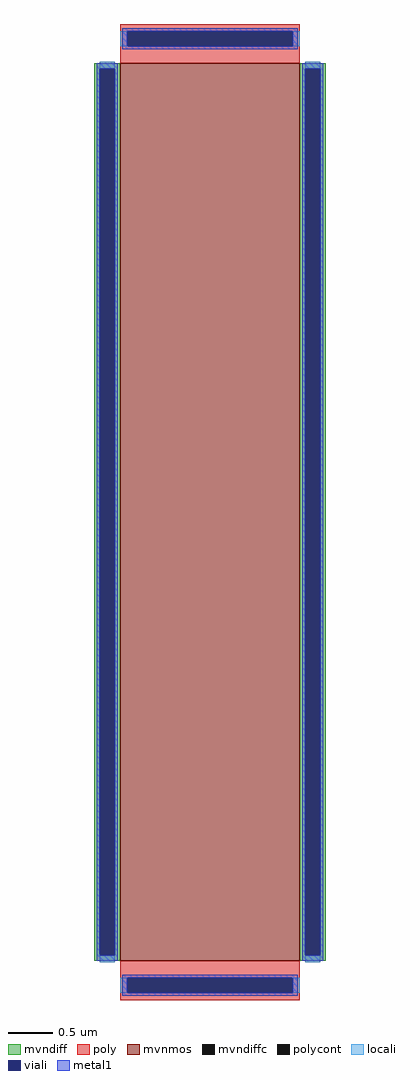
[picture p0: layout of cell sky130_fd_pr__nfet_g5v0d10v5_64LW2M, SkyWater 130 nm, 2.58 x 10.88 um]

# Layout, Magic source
magic
tech sky130A
<< mvnmos >>
rect -100 -500 100 500
<< mvndiff >>
rect -129 494 -100 500
rect -129 -494 -123 494
rect -106 -494 -100 494
rect -129 -500 -100 -494
rect 100 494 129 500
rect 100 -494 106 494
rect 123 -494 129 494
rect 100 -500 129 -494
<< mvndiffc >>
rect -123 -494 -106 494
rect 106 -494 123 494
<< poly >>
rect -100 536 100 544
rect -100 519 -92 536
rect 92 519 100 536
rect -100 500 100 519
rect -100 -519 100 -500
rect -100 -536 -92 -519
rect 92 -536 100 -519
rect -100 -544 100 -536
<< polycont >>
rect -92 519 92 536
rect -92 -536 92 -519
<< locali >>
rect -100 519 -92 536
rect 92 519 100 536
rect -123 494 -106 502
rect -123 -502 -106 -494
rect 106 494 123 502
rect 106 -502 123 -494
rect -100 -536 -92 -519
rect 92 -536 100 -519
<< viali >>
rect -92 519 92 536
rect -123 -494 -106 494
rect 106 -494 123 494
rect -92 -536 92 -519
<< metal1 >>
rect -98 536 98 539
rect -98 519 -92 536
rect 92 519 98 536
rect -98 516 98 519
rect -126 494 -103 500
rect -126 -494 -123 494
rect -106 -494 -103 494
rect -126 -500 -103 -494
rect 103 494 126 500
rect 103 -494 106 494
rect 123 -494 126 494
rect 103 -500 126 -494
rect -98 -519 98 -516
rect -98 -536 -92 -519
rect 92 -536 98 -519
rect -98 -539 98 -536
<< properties >>
string gencell sky130_fd_pr__nfet_g5v0d10v5
string library sky130
string parameters w 10 l 2 m 1 nf 1 diffcov 100 polycov 100 guard 0 glc 0 grc 0 gtc 0 gbc 0 tbcov 100 rlcov 100 topc 1 botc 1 poverlap 0 doverlap 1 lmin 0.50 wmin 0.42 compatible {sky130_fd_pr__nfet_01v8 sky130_fd_pr__nfet_01v8_lvt  sky130_fd_bs_flash__special_sonosfet_star  sky130_fd_pr__nfet_g5v0d10v5 sky130_fd_pr__nfet_05v0_nvt  sky130_fd_pr__nfet_03v3_nvt} full_metal 0 viasrc 100 viadrn 100 viagate 100 viagb 0 viagr 0 viagl 0 viagt 0
<< end >>
